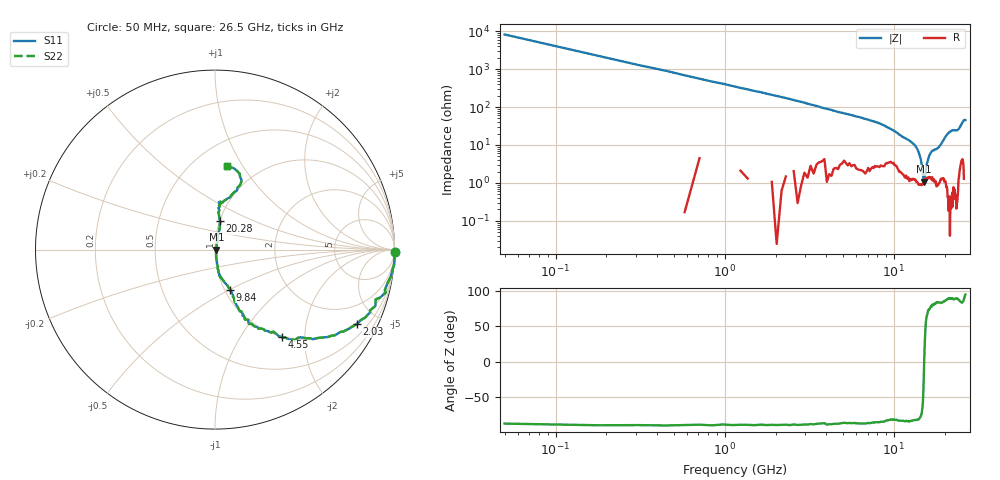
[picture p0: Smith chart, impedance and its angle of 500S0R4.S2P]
!  American Technical Ceramics  Date:  3/6/98
!  One Norden Lane
!  Huntington Station,  NY.  11746-2102
!  Tel:  (516) 547-5700  Fax:  (516) 547-5748
!  Part Number  500S0R4
!  Description: Broadband Microwave capacitor
!  Application:
# GHZ S DB R 50
! Freq  |S11|  S11 Ph  |S21|  S21 Ph  |S12|  S12 Ph  |S22|  S22 Ph
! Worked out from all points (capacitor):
!   201 points, 50 MHz to 26.5 GHz, reference 50 ohm
!   read as one part in series: C = 399 fF near 180 MHz
!   lowest |Z| = 1.08 ohm at 15.13 GHz (marker M1)
!   series resonance near 15.12 GHz, so ESL is about 280 pH
!   S11 on the Smith chart (normalised r, x): 50 MHz: open; 2.03 GHz: 0.93, -3.84; 4.55 GHz: 0.99, -1.55; 9.84 GHz: 1.06, -0.50; 20.28 GHz: 1.00, +0.33; 26.5 GHz: 0.71, +0.86
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0.05  0.04 -0.6  -38.22 87.4  -38.22 87.4  0.04 -0.6
0.18  0.01 -2.7  -26.91 87.6  -26.91 87.6  0.01 -2.7
0.58  -0.08 -8.8  -16.82 81.2  -16.82 81.2  -0.08 -8.8
1.11  -0.38 -16.2  -11.51 73.9  -11.51 73.9  -0.38 -16.2
2.03  -0.98 -27.7  -6.89 62.2  -6.89 62.2  -0.98 -27.7
4.55  -4.22 -52.5  -2.20 35.4  -2.20 35.4  -4.22 -52.5
8.91  -10.46 -68.8  -0.70 16.1  -0.70 16.1  -10.46 -68.8
9.84  -12.46 -69.5  -0.53 13.0  -0.53 13.0  -12.46 -69.5
13.28  -18.20 -81.0  -0.18 4.0  -0.18 4.0  -18.20 -81.0
14.47  -25.95 -80.9  -0.11 1.6  -0.11 1.6  -25.95 -80.9
14.73  -30.70 -76.9  -0.11 0.9  -0.11 0.9  -30.70 -76.9
15.13  -42.26 4.1  -0.12 -0.0  -0.12 -0.0  -42.26 4.1
15.52  -30.83 71.3  -0.14 -0.8  -0.14 -0.8  -30.83 71.3
16.05  -24.27 77.9  -0.15 -1.6  -0.15 -1.6  -24.27 77.9
16.85  -21.25 78.3  -0.16 -2.8  -0.16 -2.8  -21.25 78.3
17.77  -22.07 82.1  -0.14 -4.2  -0.14 -4.2  -22.07 82.1
18.83  -21.89 79.3  -0.18 -6.5  -0.18 -6.5  -21.89 79.3
20.28  -15.76 80.3  -0.30 -9.8  -0.30 -9.8  -15.76 80.3
22.14  -11.67 82.8  -0.63 -12.0  -0.63 -12.0  -11.67 82.8
24.25  -11.52 81.0  -0.80 -13.8  -0.80 -13.8  -11.52 81.0
25.71  -7.67 69.0  -1.32 -18.8  -1.32 -18.8  -7.67 69.0
26.5  -6.50 81.8  -1.65 -20.4  -1.65 -20.4  -6.50 81.8
